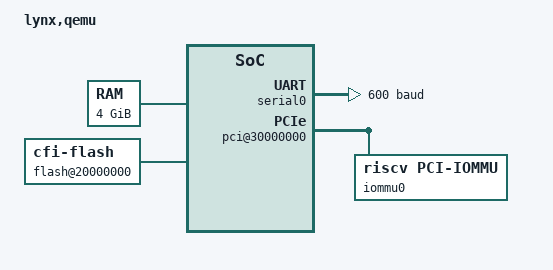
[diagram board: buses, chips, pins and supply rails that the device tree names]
// SPDX-License-Identifier: (GPL-2.0 OR MIT)
/* Copyright (c) 2026-2026 Lynx, Inc */

/dts-v1/;

/include/ "lynx-p100.dtsi"

/ {
	#address-cells = <0x02>;
	#size-cells = <0x02>;
	compatible = "riscv-virtio";
	model = "lynx,qemu";

	poweroff {
		compatible = "syscon-poweroff";

		value = <0x5555>;
		offset = <0x00>;
		regmap = <0x09>;
	};

	reboot {
		compatible = "syscon-reboot";

		value = <0x7777>;
		offset = <0x00>;
		regmap = <0x09>;
	};

	platform-bus@4000000 {
		compatible = "qemu,platform", "simple-bus";

		interrupt-parent = <&aplic_s>;
		ranges = <0x00 0x00 0x4000000 0x2000000>;
		#address-cells = <0x01>;
		#size-cells = <0x01>;
	};

	memory@80000000 {
		device_type = "memory";
		reg = <0x00 0x80000000 0x01 0x00000000>;
	};

	cpus {
		#address-cells = <0x01>;
		#size-cells = <0x00>;
		timebase-frequency = <10000000>;

		cpu0: cpu@0 {
			compatible = "riscv";

			device_type = "cpu";
			reg = <0>;

			riscv,cbop-block-size = <0x40>;
			riscv,cboz-block-size = <0x40>;
			riscv,cbom-block-size = <0x40>;
			riscv,isa-extensions = "i", "m", "a", "f", "d", "c", "h", "zic64b", "zicbom", "zicbop", "zicboz", "ziccamoa", "ziccif", "zicclsm", "ziccrse", "zicntr", "zicsr", "zifencei", "zihintntl", "zihintpause", "zihpm", "zmmul", "za64rs", "zaamo", "zalrsc", "zawrs", "zfa", "zca", "zcd", "zba", "zbb", "zbc", "zbs", "sdtrig", "shcounterenw", "shgatpa", "shtvala", "shvsatpa", "shvstvala", "shvstvecd", "smaia", "ssaia", "ssccptr", "sscounterenw", "ssstrict", "sstc", "sstvala", "sstvecd", "ssu64xl", "svadu", "svvptc";
			riscv,isa-base = "rv64i";
			riscv,isa = "rv64imafdch_zic64b_zicbom_zicbop_zicboz_ziccamoa_ziccif_zicclsm_ziccrse_zicntr_zicsr_zifencei_zihintntl_zihintpause_zihpm_zmmul_za64rs_zaamo_zalrsc_zawrs_zfa_zca_zcd_zba_zbb_zbc_zbs_sdtrig_shcounterenw_shgatpa_shtvala_shvsatpa_shvstvala_shvstvecd_smaia_ssaia_ssccptr_sscounterenw_ssstrict_sstc_sstvala_sstvecd_ssu64xl_svadu_svvptc";
			mmu-type = "riscv,sv39";

			status = "okay";
			cpu0_intc: cpu0_intc {
				compatible = "riscv,cpu-intc";

				#interrupt-cells = <1>;
				interrupt-controller;
			};
		};

		cpu1: cpu@1 {
			compatible = "riscv";

			device_type = "cpu";
			reg = <1>;

			riscv,cbop-block-size = <0x40>;
			riscv,cboz-block-size = <0x40>;
			riscv,cbom-block-size = <0x40>;
			riscv,isa-extensions = "i", "m", "a", "f", "d", "c", "h", "zic64b", "zicbom", "zicbop", "zicboz", "ziccamoa", "ziccif", "zicclsm", "ziccrse", "zicntr", "zicsr", "zifencei", "zihintntl", "zihintpause", "zihpm", "zmmul", "za64rs", "zaamo", "zalrsc", "zawrs", "zfa", "zca", "zcd", "zba", "zbb", "zbc", "zbs", "sdtrig", "shcounterenw", "shgatpa", "shtvala", "shvsatpa", "shvstvala", "shvstvecd", "smaia", "ssaia", "ssccptr", "sscounterenw", "ssstrict", "sstc", "sstvala", "sstvecd", "ssu64xl", "svadu", "svvptc";
			riscv,isa-base = "rv64i";
			riscv,isa = "rv64imafdch_zic64b_zicbom_zicbop_zicboz_ziccamoa_ziccif_zicclsm_ziccrse_zicntr_zicsr_zifencei_zihintntl_zihintpause_zihpm_zmmul_za64rs_zaamo_zalrsc_zawrs_zfa_zca_zcd_zba_zbb_zbc_zbs_sdtrig_shcounterenw_shgatpa_shtvala_shvsatpa_shvstvala_shvstvecd_smaia_ssaia_ssccptr_sscounterenw_ssstrict_sstc_sstvala_sstvecd_ssu64xl_svadu_svvptc";
			mmu-type = "riscv,sv39";

			status = "okay";
			cpu1_intc: cpu1_intc {
				compatible = "riscv,cpu-intc";

				#interrupt-cells = <1>;
				interrupt-controller;
			};
		};

		cpu2: cpu@2 {
			compatible = "riscv";

			device_type = "cpu";
			reg = <2>;

			riscv,cbop-block-size = <0x40>;
			riscv,cboz-block-size = <0x40>;
			riscv,cbom-block-size = <0x40>;
			riscv,isa-extensions = "i", "m", "a", "f", "d", "c", "h", "zic64b", "zicbom", "zicbop", "zicboz", "ziccamoa", "ziccif", "zicclsm", "ziccrse", "zicntr", "zicsr", "zifencei", "zihintntl", "zihintpause", "zihpm", "zmmul", "za64rs", "zaamo", "zalrsc", "zawrs", "zfa", "zca", "zcd", "zba", "zbb", "zbc", "zbs", "sdtrig", "shcounterenw", "shgatpa", "shtvala", "shvsatpa", "shvstvala", "shvstvecd", "smaia", "ssaia", "ssccptr", "sscounterenw", "ssstrict", "sstc", "sstvala", "sstvecd", "ssu64xl", "svadu", "svvptc";
			riscv,isa-base = "rv64i";
			riscv,isa = "rv64imafdch_zic64b_zicbom_zicbop_zicboz_ziccamoa_ziccif_zicclsm_ziccrse_zicntr_zicsr_zifencei_zihintntl_zihintpause_zihpm_zmmul_za64rs_zaamo_zalrsc_zawrs_zfa_zca_zcd_zba_zbb_zbc_zbs_sdtrig_shcounterenw_shgatpa_shtvala_shvsatpa_shvstvala_shvstvecd_smaia_ssaia_ssccptr_sscounterenw_ssstrict_sstc_sstvala_sstvecd_ssu64xl_svadu_svvptc";
			mmu-type = "riscv,sv39";

			status = "okay";
			cpu2_intc: cpu2_intc {
				compatible = "riscv,cpu-intc";

				#interrupt-cells = <1>;
				interrupt-controller;
			};
		};

		cpu3: cpu@3 {
			compatible = "riscv";

			device_type = "cpu";
			reg = <3>;

			riscv,cbop-block-size = <0x40>;
			riscv,cboz-block-size = <0x40>;
			riscv,cbom-block-size = <0x40>;
			riscv,isa-extensions = "i", "m", "a", "f", "d", "c", "h", "zic64b", "zicbom", "zicbop", "zicboz", "ziccamoa", "ziccif", "zicclsm", "ziccrse", "zicntr", "zicsr", "zifencei", "zihintntl", "zihintpause", "zihpm", "zmmul", "za64rs", "zaamo", "zalrsc", "zawrs", "zfa", "zca", "zcd", "zba", "zbb", "zbc", "zbs", "sdtrig", "shcounterenw", "shgatpa", "shtvala", "shvsatpa", "shvstvala", "shvstvecd", "smaia", "ssaia", "ssccptr", "sscounterenw", "ssstrict", "sstc", "sstvala", "sstvecd", "ssu64xl", "svadu", "svvptc";
			riscv,isa-base = "rv64i";
			riscv,isa = "rv64imafdch_zic64b_zicbom_zicbop_zicboz_ziccamoa_ziccif_zicclsm_ziccrse_zicntr_zicsr_zifencei_zihintntl_zihintpause_zihpm_zmmul_za64rs_zaamo_zalrsc_zawrs_zfa_zca_zcd_zba_zbb_zbc_zbs_sdtrig_shcounterenw_shgatpa_shtvala_shvsatpa_shvstvala_shvstvecd_smaia_ssaia_ssccptr_sscounterenw_ssstrict_sstc_sstvala_sstvecd_ssu64xl_svadu_svvptc";
			mmu-type = "riscv,sv39";

			status = "okay";
			cpu3_intc: cpu3_intc {
				compatible = "riscv,cpu-intc";

				#interrupt-cells = <1>;
				interrupt-controller;
			};
		};

		cpu-map {
			cluster0 {
				core0 {
					thread0 {
						cpu = <&cpu0>;
					};
					thread1 {
						cpu = <&cpu1>;
					};
				};
			};
			cluster1 {
				core0 {
					thread0 {
						cpu = <&cpu2>;
					};
					thread1 {
						cpu = <&cpu3>;
					};
				};
			};
		};
	};

	chosen {
		stdout-path = &serial0;
		rng-seed = <0xdc554f06 0xa2cd0251 0x6340a9d7 0x5cab3a92 0x57ab6d94 0x9806eb81 0x83fb4889 0x23e52898>;
	};

	pmu {
		riscv,event-to-mhpmcounters = <0x01 0x01 0x7fff9 0x02 0x02 0x7fffc 0x10019 0x10019 0x7fff8 0x1001b 0x1001b 0x7fff8 0x10021 0x10021 0x7fff8>;
		compatible = "riscv,pmu";
	};

	fw-cfg@10100000 {
		compatible = "qemu,fw-cfg-mmio";

		dma-coherent;
		reg = <0x00 0x10100000 0x00 0x18>;
	};

	flash@20000000 {
		bank-width = <0x04>;
		reg = <0x00 0x20000000 0x00 0x2000000 0x00 0x22000000 0x00 0x2000000>;
		compatible = "cfi-flash";
	};

	soc {
		#address-cells = <2>;
		#size-cells = <2>;
		compatible = "simple-bus";
		ranges;

		rtc@101000 {
			compatible = "google,goldfish-rtc";

			reg = <0x00 0x101000 0x00 0x1000>;

			interrupts = <0x0b 0x04>;
			interrupt-parent = <&aplic_s>;
		};

		serial0: serial@10000000 {
			compatible = "ns16550a";

			reg = <0x00 0x10000000 0x00 0x100>;

			interrupts = <10 4>; /* 10=irq, 4=IRQ_TYPE_LEVEL_HIGH */
			interrupt-parent = <&aplic_s>;

			clock-frequency = <700000>;
			current-speed = <600>;

			reg-shift = <2>;
			reg-io-width = <4>;
		};

		aplic_m: aplic@c000000 {
			compatible = "riscv,aplic";

			reg = <0x00 0xc000000 0x00 0x8000>;

			#address-cells = <0>;
			interrupt-controller;
			#interrupt-cells = <2>;

			riscv,delegate = <&aplic_s 1 96>;
			riscv,delegation = <&aplic_s 1 96>;
			riscv,children = <&aplic_s>;
			riscv,num-sources = <96>;

			msi-parent = <&imsics_m>;
		};

		aplic_s: aplic@d000000 {
			compatible = "riscv,aplic";

			reg = <0x00 0xd000000 0x00 0x8000>;

			interrupt-controller;

			#interrupt-cells = <2>;
			#address-cells = <0>;

			riscv,num-sources = <96>;
			msi-parent = <&imsics_s>;
		};

		imsics_m: imsics_m@24000000 {
			compatible = "riscv,imsics";

			reg = <0x00 0x24000000 0x00 0x4000>;

			interrupt-controller;
			#interrupt-cells = <0>;

			interrupts-extended = <&cpu0_intc 11 &cpu1_intc 11 &cpu2_intc 11 &cpu3_intc 11>;
			riscv,num-ids = <255>;

			msi-controller;
		};

		imsics_s: imsics_s@28000000 {
			compatible = "riscv,imsics";

			// for aia-guests=2
			reg = <
				0x00 0x28000000 0x00 0x4000	// CPU 0
				0x00 0x28004000 0x00 0x4000	// CPU 1
				0x00 0x28008000 0x00 0x4000	// CPU 2
				0x00 0x2800c000 0x00 0x4000	// CPU 3
			>;
			riscv,guest-index-bits = <0x02>;

			interrupt-controller;
			#interrupt-cells = <0>;

			interrupts-extended = <&cpu0_intc 9 &cpu1_intc 9 &cpu2_intc 9 &cpu3_intc 9>;
			riscv,num-ids = <255>;

			msi-controller;
		};

		virtio_mmio@10008000 {
			compatible = "virtio,mmio";

			reg = <0x00 0x10008000 0x00 0x1000>;

			interrupts = <8 4>;
			interrupt-parent = <&aplic_s>;
		};

		virtio_mmio@10007000 {
			compatible = "virtio,mmio";

			reg = <0x00 0x10007000 0x00 0x1000>;

			interrupts = <7 4>;
			interrupt-parent = <&aplic_s>;
		};

		virtio_mmio@10006000 {
			compatible = "virtio,mmio";

			reg = <0x00 0x10006000 0x00 0x1000>;

			interrupts = <6 4>;
			interrupt-parent = <&aplic_s>;
		};

		virtio_mmio@10005000 {
			compatible = "virtio,mmio";

			reg = <0x00 0x10005000 0x00 0x1000>;

			interrupts = <5 4>;
			interrupt-parent = <&aplic_s>;
		};

		virtio_mmio@10004000 {
			compatible = "virtio,mmio";

			reg = <0x00 0x10004000 0x00 0x1000>;

			interrupts = <4 4>;
			interrupt-parent = <&aplic_s>;
		};

		virtio_mmio@10003000 {
			compatible = "virtio,mmio";

			reg = <0x00 0x10003000 0x00 0x1000>;

			interrupts = <3 4>;
			interrupt-parent = <&aplic_s>;
		};

		virtio_mmio@10002000 {
			compatible = "virtio,mmio";

			reg = <0x00 0x10002000 0x00 0x1000>;

			interrupts = <2 4>;
			interrupt-parent = <&aplic_s>;
		};

		virtio_mmio@10001000 {
			compatible = "virtio,mmio";

			reg = <0x00 0x10001000 0x00 0x1000>;

			interrupts = <1 4>;
			interrupt-parent = <&aplic_s>;
		};
/*
		iommu0: iommu@3010000 {
			compatible = "riscv,iommu";
			reg = <0x0 0x3010000 0x0 0x1000>;

			interrupt-parent = <&aplic_s>;
			interrupts = <36 4>; // In qemu, XX_IOMMU_SYS_IRQ start from 36

			#iommu-cells = <1>;
		};
*/
		pci@30000000 {
			compatible = "pci-host-ecam-generic";

			interrupt-map-mask = <0x1800 0x00 0x00 0x07>;
			interrupt-map = <
						0x00 0x00 0x00 0x01 &aplic_s 0x20 0x04
						0x00 0x00 0x00 0x02 &aplic_s 0x21 0x04
						0x00 0x00 0x00 0x03 &aplic_s 0x22 0x04
						0x00 0x00 0x00 0x04 &aplic_s 0x23 0x04
						0x800 0x00 0x00 0x01 &aplic_s 0x21 0x04
						0x800 0x00 0x00 0x02 &aplic_s 0x22 0x04
						0x800 0x00 0x00 0x03 &aplic_s 0x23 0x04
						0x800 0x00 0x00 0x04 &aplic_s 0x20 0x04
						0x1000 0x00 0x00 0x01 &aplic_s 0x22 0x04
						0x1000 0x00 0x00 0x02 &aplic_s 0x23 0x04
						0x1000 0x00 0x00 0x03 &aplic_s 0x20 0x04
						0x1000 0x00 0x00 0x04 &aplic_s 0x21 0x04
						0x1800 0x00 0x00 0x01 &aplic_s 0x23 0x04
						0x1800 0x00 0x00 0x02 &aplic_s 0x20 0x04
						0x1800 0x00 0x00 0x03 &aplic_s 0x21 0x04
						0x1800 0x00 0x00 0x04 &aplic_s 0x22 0x04
			>;

			ranges = <
									/* type */	/* PCI addr */		/* CPU addr */		/* Size */
				/* PCI io space */ 	0x1000000 	0x00 0x00 			0x00 0x3000000 		0x00 0x10000
				/* PCI MEM 32bit */	0x2000000 	0x00 0x40000000 	0x00 0x40000000 	0x00 0x40000000
				/* PCI MEM 64bit */	0x3000000 	0x04 0x00 			0x04 0x00 			0x04 0x00
			>;
			reg = <0x00 0x30000000 0x00 0x10000000>; /* 256MB ecam */

			msi-parent = <&imsics_s>;
			dma-coherent;
			bus-range = <0x00 0xff>;
			linux,pci-domain = <0x00>;

			device_type = "pci";

			#size-cells = <0x02>;
			#interrupt-cells = <0x01>;
			#address-cells = <0x03>;

			/*
			* The IOMMU manages all functions in this PCI domain except
			* itself. Omit BDF 00:01.0.
			*/
			iommu-map = <0x0 &iommu0 0x0 0x10>,
				<0x11 &iommu0 0x11 0xffef>;

			/* The IOMMU programming interface uses slot 00:01.0 */
			iommu0: iommu@1,0 {
				compatible = "riscv,pci-iommu";
				reg = <0x800 0 0 0 0>;
				#iommu-cells = <1>;
			};
		};
	};
};
